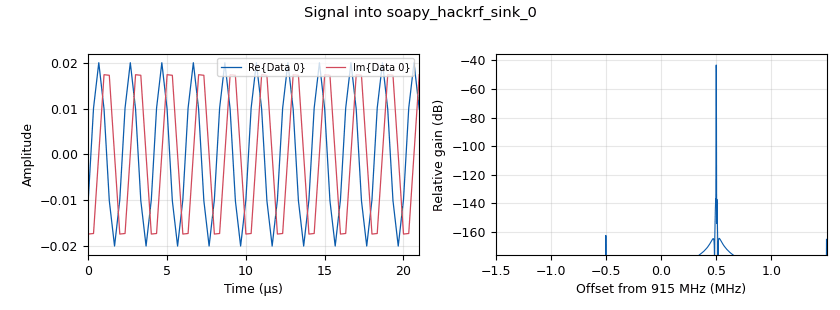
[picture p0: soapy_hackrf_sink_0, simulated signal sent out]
options:
  parameters:
    author: MR
    generate_options: no_gui
    id: Tx_Tone_HackRF
    output_language: python
    run_options: run
    title: Transmit Tone
  states: {}

blocks:
- name: analog_sig_source_x_0
  id: analog_sig_source_x
  parameters:
    amp: tone_amp
    freq: tone_freq
    offset: '0'
    phase: '0'
    samp_rate: samp_rate
    type: complex
    waveform: analog.GR_COS_WAVE
  states: {}
- name: fc
  id: parameter
  parameters:
    label: 'Center Frequency '
    short_id: c
    type: eng_float
    value: int(915e6)
  states: {}
- name: node
  id: parameter
  parameters:
    label: Node Number
    short_id: n
    type: str
    value: '101'
  states: {}
- name: samp_rate
  id: parameter
  parameters:
    label: Sample Rate
    short_id: a
    type: eng_float
    value: 3e6
  states: {}
- name: soapy_hackrf_sink_0
  id: soapy_hackrf_sink
  parameters:
    center_freq: fc
    samp_rate: samp_rate
    type: fc32
    vga: tx_gain
  states: {}
- name: tone_amp
  id: parameter
  parameters:
    label: Tone Amplitude (tone)
    short_id: t
    type: eng_float
    value: '0.02'
  states: {}
- name: tone_freq
  id: parameter
  parameters:
    label: Tone Frequency (Relative to fc)
    short_id: f
    type: eng_float
    value: 500e3
  states: {}
- name: tx_gain
  id: parameter
  parameters:
    label: 'Transmitter Gain '
    short_id: g
    type: eng_float
    value: '40'
  states: {}
- name: xmlrpc_server_0
  id: xmlrpc_server
  parameters:
    addr: '"10.1.1." + node'
    port: '8080'
  states: {}

connections:
- [analog_sig_source_x_0, '0', soapy_hackrf_sink_0, '0']

metadata:
  file_format: 1
  grc_version: 3.10.11.0
